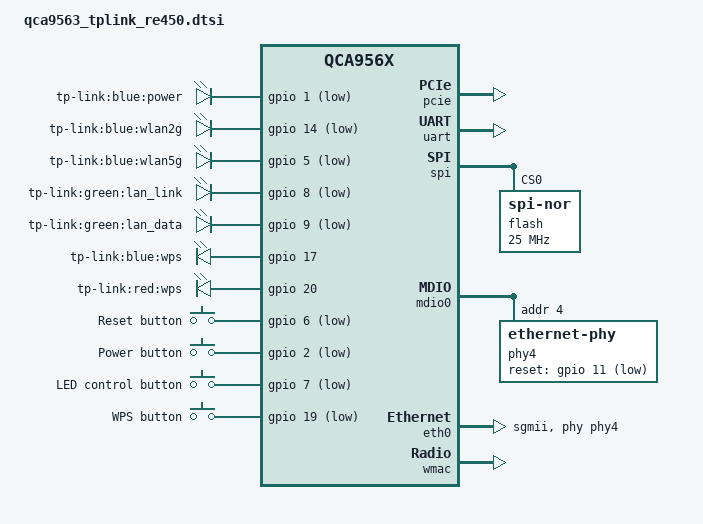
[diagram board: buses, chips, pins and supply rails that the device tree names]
// SPDX-License-Identifier: GPL-2.0-or-later OR MIT

#include <dt-bindings/gpio/gpio.h>
#include <dt-bindings/input/input.h>

#include "qca956x.dtsi"

/ {
	aliases {
		label-mac-device = &eth0;
		led-boot = &led_power;
		led-failsafe = &led_power;
		led-running = &led_power;
		led-upgrade = &led_power;
	};

	leds {
		compatible = "gpio-leds";

		led_power: power {
			label = "tp-link:blue:power";
			gpios = <&gpio 1 GPIO_ACTIVE_LOW>;
		};

		wlan2g {
			label = "tp-link:blue:wlan2g";
			gpios = <&gpio 14 GPIO_ACTIVE_LOW>;
			linux,default-trigger = "phy1tpt";
		};

		wlan5g {
			label = "tp-link:blue:wlan5g";
			gpios = <&gpio 5 GPIO_ACTIVE_LOW>;
			linux,default-trigger = "phy0tpt";
		};

		lan_link {
			label = "tp-link:green:lan_link";
			gpios = <&gpio 8 GPIO_ACTIVE_LOW>;
		};

		lan_data {
			label = "tp-link:green:lan_data";
			gpios = <&gpio 9 GPIO_ACTIVE_LOW>;
		};

		wps_blue {
			label = "tp-link:blue:wps";
			gpios = <&gpio 17 GPIO_ACTIVE_HIGH>;
		};

		wps_red {
			label = "tp-link:red:wps";
			gpios = <&gpio 20 GPIO_ACTIVE_HIGH>;
		};
	};

	keys {
		compatible = "gpio-keys";

		reset {
			label = "Reset button";
			linux,code = <KEY_RESTART>;
			gpios = <&gpio 6 GPIO_ACTIVE_LOW>;
			debounce-interval = <60>;
		};

		power {
			label = "Power button";
			linux,code = <KEY_POWER>;
			gpios = <&gpio 2 GPIO_ACTIVE_LOW>;
			debounce-interval = <60>;
		};

		leds {
			label = "LED control button";
			linux,code = <BTN_0>;
			gpios = <&gpio 7 GPIO_ACTIVE_LOW>;
			debounce-interval = <60>;
		};

		wps {
			label = "WPS button";
			linux,code = <KEY_WPS_BUTTON>;
			gpios = <&gpio 19 GPIO_ACTIVE_LOW>;
			debounce-interval = <60>;
		};
	};
};

&pcie {
	status = "okay";
};

&uart {
	status = "okay";
};

&spi {
	status = "okay";

	num-cs = <1>;

	flash@0 {
		compatible = "jedec,spi-nor";
		reg = <0>;
		spi-max-frequency = <25000000>;

		partitions: partitions {
			compatible = "fixed-partitions";
			#address-cells = <1>;
			#size-cells = <1>;
		};
	};
};

&pinmux {
	mdio_pins: mdio_pins {
		/* GPIO 3 as MDC(0x21), GPIO 4 as MDIO(0x20) */
		pinctrl-single,bits = <0x0 0x21000000 0xff000000>,
				      <0x4 0x00000020 0x000000ff>;
	};
};

&mdio0 {
	status = "okay";

	pinctrl-names = "default";
	pinctrl-0 = <&mdio_pins>;

	phy-mask = <0x10>;

	phy4: ethernet-phy@4 {
		reg = <4>;
		reset-gpios = <&gpio 11 GPIO_ACTIVE_LOW>;
	};
};

&eth0 {
	status = "okay";

	phy-mode = "sgmii";
	phy-handle = <&phy4>;

	mtd-mac-address = <&info 0x8>;
};

&wmac {
	status = "okay";

	mtd-cal-data = <&art 0x1000>;
	mtd-mac-address = <&info 0x8>;
};
